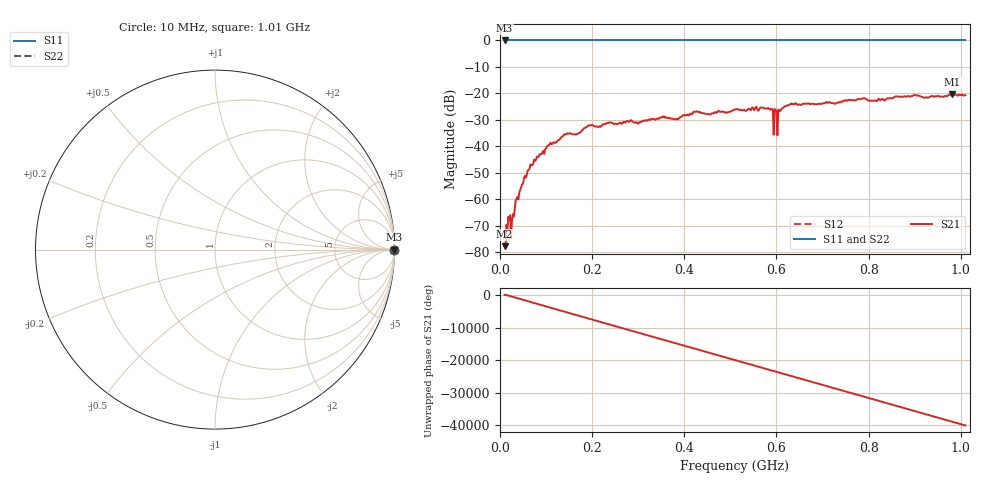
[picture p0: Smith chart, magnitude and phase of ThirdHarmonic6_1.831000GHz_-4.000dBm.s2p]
! 8/16/2025 10:10:26 PM
! C:\ANRITSUVNA\TEMP\TEMP.S2P
! CHANNEL.1
! TR.MEASUREMENT
! RAW.DATA
! RF.CORRECTION.OFF
! AVERAGING.OFF
! IF.BANDWIDTH: 5KHZ
! SWEEPTYPE:  FREQ.SWEEP(Linear)
! Reference Plane Port Info
! PORT:  PORT1  PORT2
! DISTANCE:  0  m  0  m
! TIME:  0  s  0  s
! PHASE.OFFSET:  0  deg.  0  deg.
! LOSS:  0  dB  0  dB
! REF.LOSS:  0  dB  0  dB
! REF.FREQ:  0  Hz  0  Hz
! Power Info
! POWER:  -20  dBm  -20  dBm
! EFF.POWER:  -20  dBm  -20  dBm
! SOURCE.ATTEN:  0  dB  0  dB
! TEST.ATTEN:  0  dB  0  dB
# GHZ S RI R 50.0
! FREQ.GHZ  S11RE  S11IM  S21RE  S21IM  S12RE  S12IM  S22RE  S22IM
!; PortSelection: Port_12
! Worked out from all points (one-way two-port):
!   501 points, 10 MHz to 1.01 GHz, reference 50 ohm
!   highest |S21| = -20.38 dB at 982 MHz (marker M1); lowest = -77.7 dB at 10 MHz (marker M2)
!   lowest |S11| = 0.0 dB at 10 MHz (marker M3)
!   |S11| at or under -10 dB: nowhere
!   |S22| runs from 0.0 to 0.0 dB; largest |S21 - S12| = 1.1
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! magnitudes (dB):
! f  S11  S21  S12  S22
! 10 MHz  0.0  -77.7  0.0  0.0
! 18 MHz  0.0  -66.7  0.0  0.0
! 28 MHz  0.0  -65.7  0.0  0.0
! 38 MHz  0.0  -59.1  0.0  0.0
! 70 MHz  0.0  -47.2  0.0  0.0
! 106 MHz  0.0  -39.5  0.0  0.0
! 142 MHz  0.0  -35.5  0.0  0.0
! 178 MHz  0.0  -34.0  0.0  0.0
! 196 MHz  0.0  -32.0  0.0  0.0
! 344 MHz  0.0  -29.6  0.0  0.0
! 510 MHz  0.0  -26.1  0.0  0.0
! 586 MHz  0.0  -26.2  0.0  0.0
! 596 MHz  0.0  -26.0  0.0  0.0
! 598 MHz  0.0  -26.3  0.0  0.0
! 600 MHz  0.0  -26.5  0.0  0.0
! 606 MHz  0.0  -26.6  0.0  0.0
! 608 MHz  0.0  -26.7  0.0  0.0
! 620 MHz  0.0  -24.8  0.0  0.0
! 678 MHz  0.0  -23.9  0.0  0.0
! 844 MHz  0.0  -21.8  0.0  0.0
! 982 MHz  0.0  -20.4  0.0  0.0
! 1.01 GHz  0.0  -20.7  0.0  0.0
